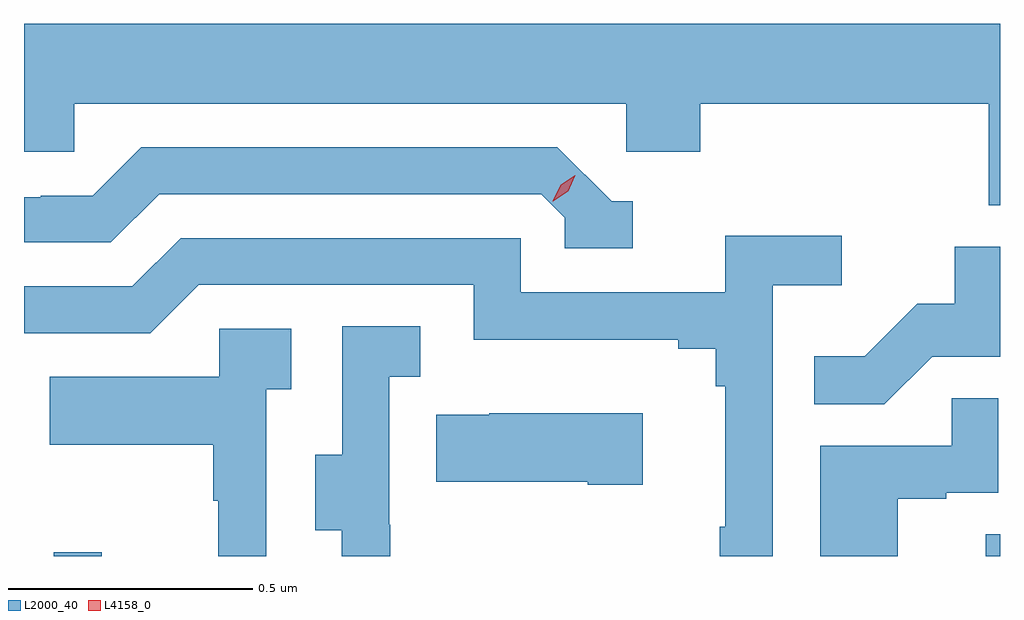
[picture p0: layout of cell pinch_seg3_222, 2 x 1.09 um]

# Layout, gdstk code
import gdstk
lib = gdstk.Library(unit=1e-6, precision=1e-09)
def R(c, l, rs):  # rectangles x0, y0, x1, y1
    for r in rs: c.add(gdstk.rectangle(r[:2], r[2:], *l))
def P(c, l, *ps):  # polygons
    for p in ps: c.add(gdstk.Polygon(p, *l))
L2000_40 = (2000, 40)
L4158_0 = (4158, 0)

pinch_seg3_222 = lib.new_cell('pinch_seg3_222')
R(pinch_seg3_222, L2000_40, [(950.763,734.621,950.861,734.629), (952.673,734.621,952.702,734.666)])
P(pinch_seg3_222, L2000_40, [(952.702,735.712),(950.702,735.712),(950.702,735.45),(950.805,735.45),(950.805,735.548),(951.936,735.548),(951.936,735.45),(952.088,735.45),(952.088,735.548),(952.679,735.548),(952.679,735.34),(952.702,735.34)],
  [(951.949,735.348),(951.906,735.348),(951.795,735.459),(950.942,735.459),(950.843,735.36),(950.736,735.36),(950.736,735.357),(950.702,735.357),(950.702,735.264),(950.88,735.264),(950.979,735.363),(951.762,735.363),(951.81,735.315),(951.81,735.252),(951.949,735.252)],
  [(952.236,735.176),(952.378,735.176),(952.378,735.278),(952.139,735.278),(952.139,735.162),(951.72,735.162),(951.72,735.273),(951.023,735.273),(950.924,735.174),(950.702,735.174),(950.702,735.078),(950.961,735.078),(951.06,735.177),(951.624,735.177),(951.624,735.065),(952.043,735.065),(952.043,735.046),(952.12,735.046),(952.12,734.969),(952.139,734.969),(952.139,734.681),(952.128,734.681),(952.128,734.621),(952.236,734.621)],
  [(952.563,735.03),(952.702,735.03),(952.702,735.255),(952.609,735.255),(952.609,735.138),(952.532,735.138),(952.425,735.031),(952.321,735.031),(952.321,734.932),(952.465,734.932)],
  [(951.452,734.685),(951.45,734.685),(951.45,734.989),(951.514,734.989),(951.514,735.092),(951.354,735.092),(951.354,734.829),(951.299,734.829),(951.299,734.674),(951.353,734.674),(951.353,734.621),(951.452,734.621)],
  [(951.198,734.963),(951.25,734.963),(951.25,735.087),(951.102,735.087),(951.102,734.989),(950.755,734.989),(950.755,734.849),(951.09,734.849),(951.09,734.735),(951.1,734.735),(951.1,734.621),(951.198,734.621)],
  [(952.492,734.739),(952.592,734.739),(952.592,734.751),(952.698,734.751),(952.698,734.945),(952.603,734.945),(952.603,734.847),(952.334,734.847),(952.334,734.621),(952.492,734.621)],
  [(951.97,734.914),(951.655,734.914),(951.655,734.911),(951.547,734.911),(951.547,734.774),(951.857,734.774),(951.857,734.767),(951.97,734.767)])
P(pinch_seg3_222, L4158_0, [(951.786,735.348),(951.786,735.349),(951.802,735.382),(951.832,735.402),(951.832,735.402),(951.832,735.402),(951.817,735.369),(951.787,735.348)])

lib.write_gds('pinch_seg3_222.gds')
